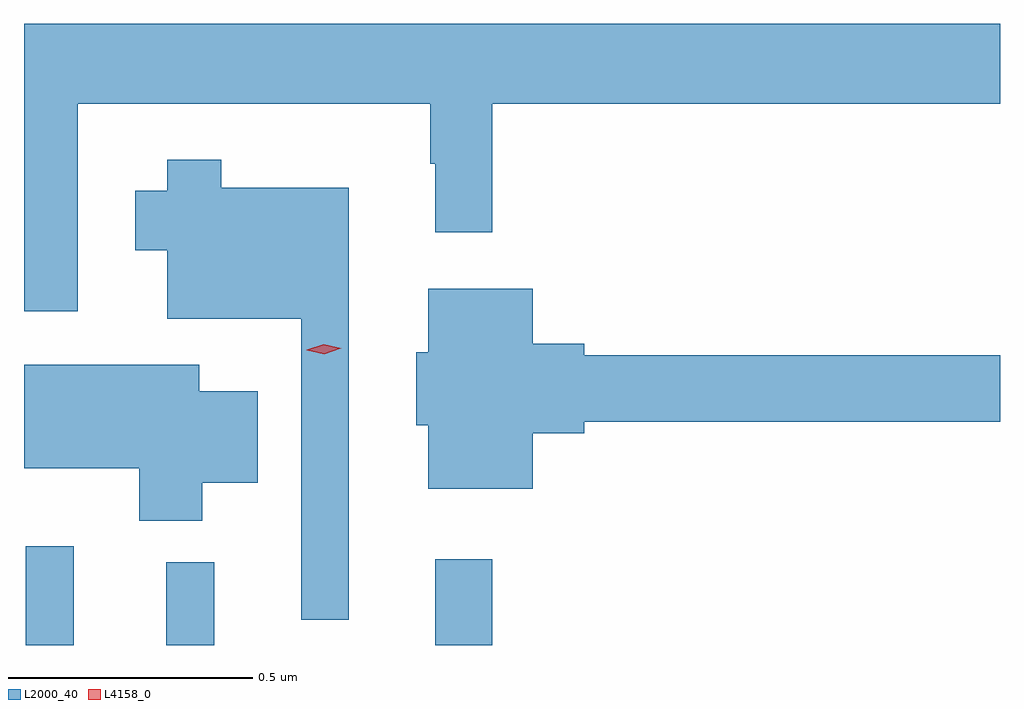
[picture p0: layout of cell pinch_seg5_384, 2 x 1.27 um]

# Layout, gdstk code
import gdstk
lib = gdstk.Library(unit=1e-6, precision=1e-09)
def R(c, l, rs):  # rectangles x0, y0, x1, y1
    for r in rs: c.add(gdstk.rectangle(r[:2], r[2:], *l))
def P(c, l, *ps):  # polygons
    for p in ps: c.add(gdstk.Polygon(p, *l))
L2000_40 = (2000, 40)
L4158_0 = (4158, 0)

pinch_seg5_384 = lib.new_cell('pinch_seg5_384')
R(pinch_seg5_384, L2000_40, [(1011.159,883.622,1011.257,883.825), (1011.446,883.622,1011.545,883.792), (1011.998,883.622,1012.115,883.798)])
P(pinch_seg5_384, L2000_40, [(1011.265,884.732),(1011.987,884.732),(1011.987,884.609),(1011.998,884.609),(1011.998,884.469),(1012.115,884.469),(1012.115,884.732),(1013.155,884.732),(1013.155,884.896),(1011.155,884.896),(1011.155,884.307),(1011.265,884.307)],
  [(1011.82,884.56),(1011.559,884.56),(1011.559,884.617),(1011.449,884.617),(1011.449,884.554),(1011.383,884.554),(1011.383,884.432),(1011.449,884.432),(1011.449,884.291),(1011.723,884.291),(1011.723,883.674),(1011.82,883.674)],
  [(1012.198,884.057),(1012.303,884.057),(1012.303,884.08),(1013.155,884.08),(1013.155,884.216),(1012.303,884.216),(1012.303,884.24),(1012.198,884.24),(1012.198,884.353),(1011.983,884.353),(1011.983,884.223),(1011.959,884.223),(1011.959,884.073),(1011.983,884.073),(1011.983,883.943),(1012.198,883.943)],
  [(1011.52,883.955),(1011.634,883.955),(1011.634,884.143),(1011.514,884.143),(1011.514,884.197),(1011.155,884.197),(1011.155,883.985),(1011.391,883.985),(1011.391,883.877),(1011.52,883.877)])
P(pinch_seg5_384, L4158_0, [(1011.77,884.219),(1011.734,884.227),(1011.734,884.227),(1011.734,884.228),(1011.769,884.239),(1011.805,884.231),(1011.805,884.231),(1011.805,884.231)])

lib.write_gds('pinch_seg5_384.gds')
